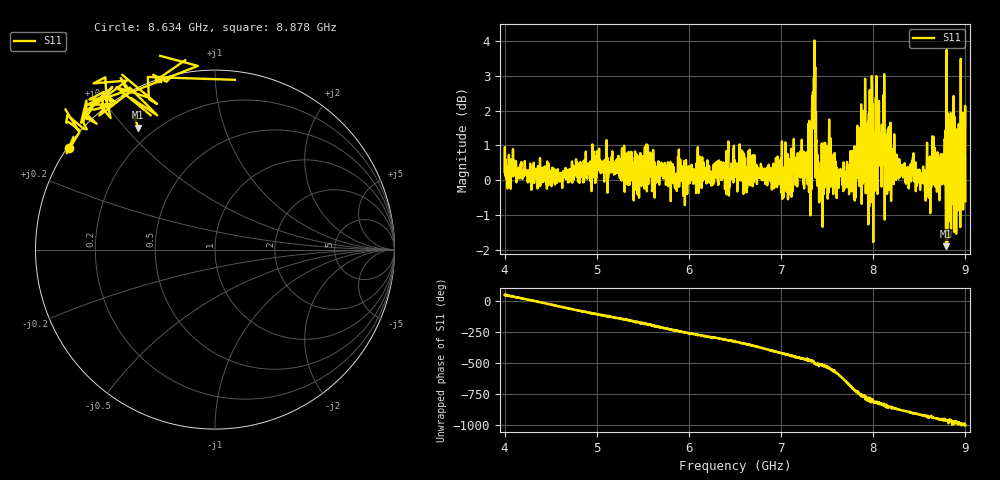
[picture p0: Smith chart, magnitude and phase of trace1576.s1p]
! Created with skrf 1.8.0 (http://scikit-rf.org).
# Hz S RI R 50.0
!freq ReS11 ImS11
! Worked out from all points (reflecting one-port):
!   1601 points, 4 GHz to 9 GHz, reference 50 ohm
!   lowest |S11| = -1.9 dB at 8.791 GHz (marker M1), VSWR 9.17, Z = 7.08 + j27.1 ohm
!   phase of S11 starts at 52 deg and turns -1052 deg over the sweep
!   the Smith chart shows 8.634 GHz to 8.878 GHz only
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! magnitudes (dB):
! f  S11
! 4 GHz  0.2
! 4.625 GHz  -0.2
! 5.25 GHz  0.1
! 5.875 GHz  0.1
! 6.5 GHz  0.3
! 7.097 GHz  0.3
! 7.125 GHz  0.5
! 7.306 GHz  1.7
! 7.359 GHz  2.4
! 7.4 GHz  -0.1
! 7.425 GHz  0.2
! 7.512 GHz  1.0
! 7.609 GHz  0.2
! 7.75 GHz  0.1
! 7.788 GHz  0.2
! 7.844 GHz  1.5
! 7.928 GHz  1.1
! 7.941 GHz  1.5
! 8.009 GHz  1.3
! 8.022 GHz  0.4
! 8.097 GHz  0.9
! 8.15 GHz  -0.4
! 8.178 GHz  1.5
! 8.375 GHz  0.1
! 8.791 GHz  -1.9
! 8.9 GHz  -1.5
! 8.972 GHz  0.7
! 9 GHz  -0.6
